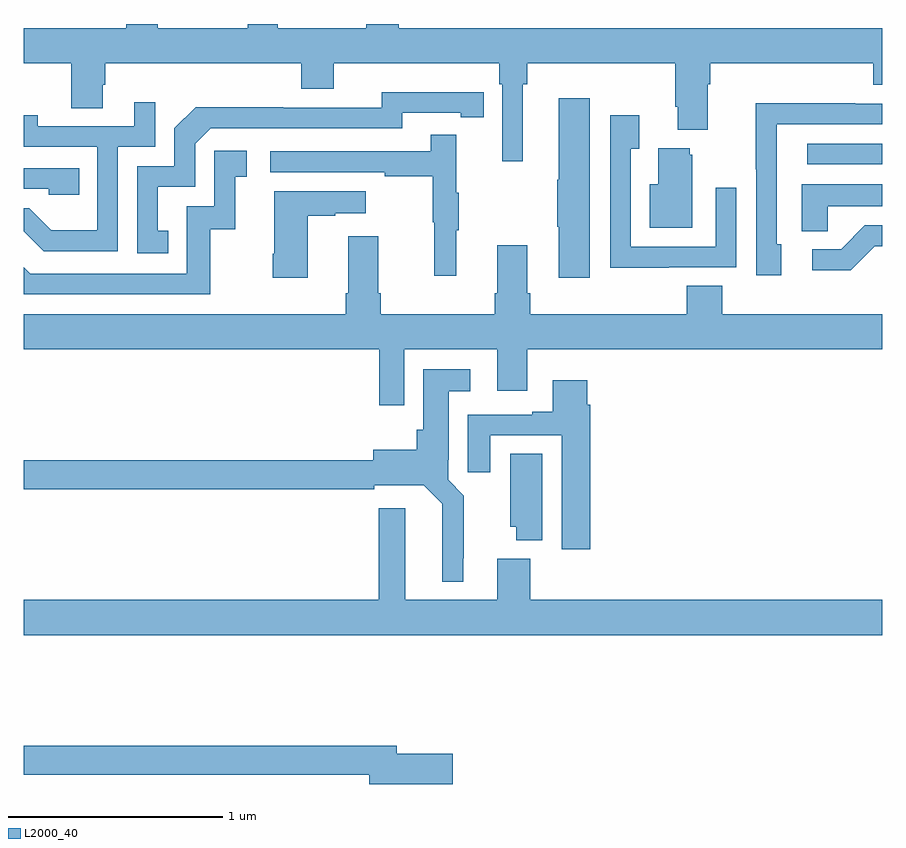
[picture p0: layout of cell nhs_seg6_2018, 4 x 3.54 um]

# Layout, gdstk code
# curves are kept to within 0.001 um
import gdstk
lib = gdstk.Library(unit=1e-6, precision=1e-09)
def R(c, l, rs):  # rectangles x0, y0, x1, y1
    for r in rs: c.add(gdstk.rectangle(r[:2], r[2:], *l))
def P(c, l, *ps):  # polygons
    for p in ps: c.add(gdstk.Polygon(p, *l))
L2000_40 = (2000, 40)

nhs_seg6_2018 = lib.new_cell('nhs_seg6_2018')
R(nhs_seg6_2018, L2000_40, [(234.651,966.846,235,966.942)])
P(nhs_seg6_2018, L2000_40, [(233.326,967.22),(233.345,967.22),(233.345,967.316),(234.035,967.316),(234.035,967.114),(234.047,967.114),(234.047,967.007),(234.187,967.007),(234.187,967.22),(234.2,967.22),(234.2,967.316),(234.959,967.316),(234.959,967.217),(235,967.217),(235,967.48),(232.748,967.48),(232.748,967.5),(232.595,967.5),(232.595,967.48),(232.183,967.48),(232.183,967.5),(232.043,967.5),(232.043,967.48),(231.625,967.48),(231.625,967.5),(231.478,967.5),(231.478,967.48),(231,967.48),(231,967.316),(231.22,967.316),(231.22,967.108),(231.367,967.108),(231.367,967.218),(231.38,967.218),(231.38,967.316),(232.292,967.316),(232.292,967.199),(232.444,967.199),(232.444,967.316),(233.216,967.316),(233.216,967.22),(233.229,967.22),(233.229,966.861),(233.326,966.861)],
  [(231.674,966.537),(231.625,966.537),(231.625,966.741),(231.798,966.741),(231.798,966.942),(231.87,967.014),(232.764,967.014),(232.764,967.086),(233.036,967.086),(233.036,967.066),(233.144,967.066),(233.144,967.182),(232.668,967.183),(232.668,967.11),(232.208,967.11),(232.208,967.112),(231.8,967.112),(231.702,967.014),(231.702,966.837),(231.528,966.837),(231.528,966.432),(231.674,966.432)],
  [(233.638,967.153),(233.492,967.153),(233.492,966.773),(233.485,966.773),(233.485,966.556),(233.492,966.556),(233.492,966.318),(233.638,966.318)],
  [(231.438,966.927),(231.612,966.927),(231.612,967.135),(231.515,967.135),(231.515,967.023),(231.064,967.023),(231.064,967.075),(231,967.075),(231,966.927),(231.342,966.927),(231.342,966.538),(231.128,966.538),(231.024,966.642),(231,966.642),(231,966.533),(231.092,966.441),(231.438,966.441)],
  [(234.529,966.474),(234.51,966.474),(234.51,967.032),(235,967.032),(235,967.128),(234.875,967.128),(234.875,967.13),(234.412,967.13),(234.412,966.823),(234.414,966.823),(234.414,966.33),(234.529,966.33)],
  [(234.005,966.366),(234.321,966.366),(234.321,966.736),(234.225,966.736),(234.225,966.462),(233.829,966.462),(233.829,966.919),(233.869,966.919),(233.869,967.075),(233.733,967.075),(233.733,966.365),(234.005,966.365)],
  [(233.015,966.539),(233.026,966.539),(233.026,966.713),(233.015,966.713),(233.015,966.985),(232.897,966.985),(232.897,966.906),(232.149,966.906),(232.149,966.81),(232.681,966.81),(232.681,966.79),(232.905,966.79),(232.905,966.576),(232.912,966.576),(232.912,966.327),(233.015,966.327)],
  [(234.115,966.891),(234.104,966.891),(234.104,966.922),(233.957,966.922),(233.957,966.754),(233.918,966.754),(233.918,966.551),(234.115,966.551)],
  [(231.868,966.543),(231.986,966.543),(231.986,966.789),(232.039,966.789),(232.039,966.91),(231.888,966.91),(231.888,966.651),(231.759,966.651),(231.759,966.336),(231.03,966.336),(231,966.366),(231,966.24),(231.868,966.24)],
  [(231.257,966.828),(231,966.828),(231,966.732),(231.117,966.732),(231.117,966.705),(231.257,966.705)],
  [(234.747,966.65),(235,966.65),(235,966.754),(234.626,966.754),(234.626,966.535),(234.747,966.535)],
  [(232.324,966.607),(232.451,966.607),(232.451,966.617),(232.594,966.617),(232.594,966.721),(232.166,966.721),(232.166,966.43),(232.159,966.43),(232.159,966.318),(232.324,966.318)],
  [(234.966,966.465),(235,966.465),(235,966.561),(234.92,966.561),(234.809,966.45),(234.675,966.45),(234.675,966.353),(234.853,966.353)],
  [(232.773,965.984),(233.207,965.984),(233.207,965.79),(233.347,965.79),(233.347,965.984),(235,965.984),(235,966.148),(234.254,966.148),(234.254,966.281),(234.089,966.281),(234.089,966.148),(233.36,966.148),(233.36,966.244),(233.347,966.244),(233.347,966.469),(233.207,966.469),(233.207,966.244),(233.195,966.244),(233.195,966.148),(232.664,966.148),(232.664,966.244),(232.651,966.244),(232.651,966.511),(232.511,966.511),(232.511,966.244),(232.499,966.244),(232.499,966.148),(231,966.148),(231,965.984),(232.657,965.984),(232.657,965.724),(232.773,965.724)],
  [(233.047,965.011),(233.051,965.011),(233.051,965.302),(232.977,965.376),(232.977,965.47),(232.981,965.47),(232.981,965.789),(233.08,965.789),(233.08,965.89),(232.862,965.89),(232.862,965.61),(232.832,965.61),(232.832,965.515),(232.628,965.515),(232.628,965.468),(231,965.468),(231,965.332),(232.632,965.332),(232.632,965.351),(232.863,965.351),(232.95,965.264),(232.949,964.901),(233.047,964.901)],
  [(233.639,965.726),(233.626,965.726),(233.626,965.839),(233.465,965.839),(233.465,965.692),(233.369,965.692),(233.369,965.679),(233.069,965.679),(233.069,965.412),(233.173,965.412),(233.173,965.583),(233.507,965.583),(233.507,965.052),(233.639,965.052)],
  [(233.416,965.498),(233.267,965.498),(233.267,965.157),(233.294,965.157),(233.294,965.093),(233.416,965.093)],
  [(235,964.816),(233.36,964.816),(233.36,965.008),(233.207,965.008),(233.207,964.816),(232.777,964.816),(232.777,965.242),(232.655,965.242),(232.655,964.816),(231,964.816),(231,964.652),(235,964.652)],
  [(232.999,964.1),(232.738,964.1),(232.738,964.136),(231,964.136),(231,964),(232.61,964),(232.61,963.958),(232.999,963.958)])

lib.write_gds('nhs_seg6_2018.gds')
